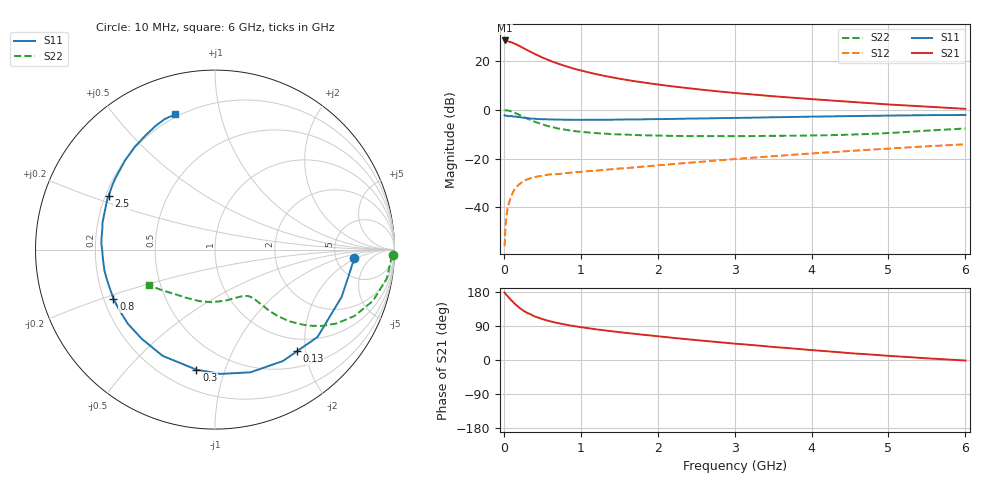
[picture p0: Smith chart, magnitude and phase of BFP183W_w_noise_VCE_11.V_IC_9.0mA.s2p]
! (c) 2017  Infineon Technologies AG, Munich
! Infineon Technologies  Discrete & RF Semiconductors
! BFP183W
! VCE =  11. V,  IC =  9.0 mA
! Common Emitter S-Parameters:  Jan 2017
# GHz  S  MA  R  50
!  f  S11  S21  S12  S22
! GHz  MAG  ANG  MAG  ANG  MAG  ANG  MAG  ANG
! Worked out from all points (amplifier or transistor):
!   77 points, 10 MHz to 6 GHz, reference 50 ohm
!   highest |S21| = 28.5 dB at 10 MHz (marker M1)
!   |S21| within 3 dB of that: start of sweep to 246.9 MHz
!   unconditionally stable (mu >= 1): 1.776 GHz to 3.908 GHz
!   at 130 MHz: K = 0.13, MSG = 30.2 dB, |S12| = -33.2 dB
!   at 2.2 GHz: K = 1.05, MAG = 14.5 dB, |S12| = -22.2 dB
!   at 6 GHz: K = 0.83, MSG = 7.3 dB, |S12| = -14.1 dB
!   lowest NFmin = 0.90 dB at 450 MHz
!   S11 on the Smith chart (normalised r, x): 10 MHz: 7.57, -1.77; 130 MHz: 0.76, -1.84; 300 MHz: 0.33, -0.80; 800 MHz: 0.24, -0.22; 2.5 GHz: 0.21, +0.23; 6 GHz: 0.19, +0.73
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0.01  0.7776 -3.4  26.53 178.0  0.0016 82.1  0.9904 -1.9
0.02  0.7615 -9.6  26.09 174.9  0.0038 92.7  0.9806 -3.8
0.05  0.7532 -20.5  25.58 168.1  0.0097 80.1  0.9718 -9.4
0.09  0.744 -36.4  24.49 159.2  0.0159 72.4  0.9327 -16.2
0.1  0.7507 -40.4  24.31 156.9  0.0175 71.3  0.9251 -18.0
0.13  0.7276 -51.2  23.13 151.1  0.022 65.6  0.8843 -22.4
0.15  0.7271 -58.6  22.48 147.0  0.0251 63.0  0.8601 -25.5
0.2  0.7116 -73.9  20.53 138.1  0.0297 57.6  0.7924 -31.3
0.25  0.6932 -87.5  18.67 130.7  0.0343 51.1  0.7265 -35.9
0.3  0.677 -98.8  16.89 124.7  0.0374 46.8  0.666 -39.5
0.4  0.6599 -116.3  14.06 115.0  0.0418 42.3  0.5719 -44.2
0.5  0.6431 -129.4  11.86 107.9  0.0449 38.8  0.5034 -46.8
0.6  0.6375 -139.5  10.21 102.2  0.0474 37.7  0.4533 -48.5
0.8  0.6287 -154.2  7.916 93.4  0.0504 38.7  0.3913 -50.1
1.1  0.6269 -168.9  5.88 83.8  0.0553 39.0  0.3438 -51.9
1.5  0.6331 177.5  4.365 73.6  0.0625 42.2  0.3133 -55.5
2.1  0.6488 161.7  3.17 60.6  0.075 46.2  0.2944 -64.4
2.5  0.6645 153.2  2.671 52.6  0.0845 48.0  0.2899 -72.3
3.1  0.6868 142.1  2.156 41.6  0.1005 49.1  0.2893 -85.2
4.1  0.7295 126.5  1.62 24.6  0.1307 48.2  0.3001 -108.7
5.1  0.7663 114.9  1.265 9.7  0.1639 44.9  0.3418 -134.7
6  0.7855 106.5  1.049 -1.5  0.1968 40.1  0.4157 -151.4
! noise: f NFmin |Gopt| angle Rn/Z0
0.45  0.9  0.11  89  0.11
0.9  0.95  0.18  132  0.1
1.9  1.46  0.37  179  0.07
2.4  1.71  0.44  -170  0.09
